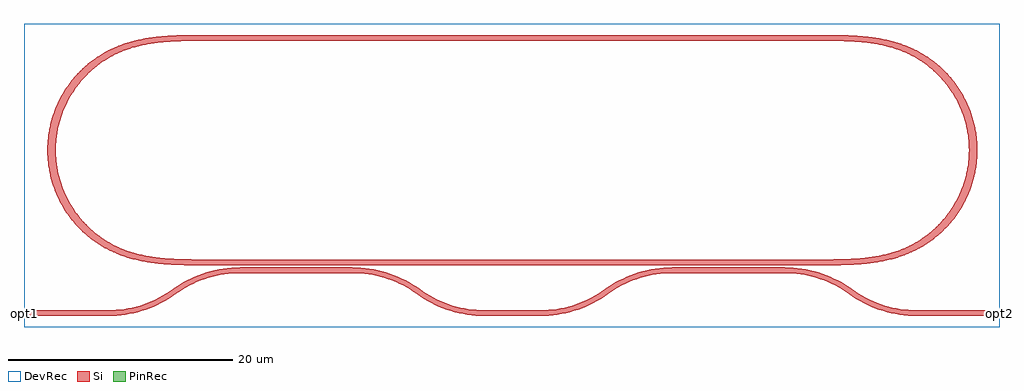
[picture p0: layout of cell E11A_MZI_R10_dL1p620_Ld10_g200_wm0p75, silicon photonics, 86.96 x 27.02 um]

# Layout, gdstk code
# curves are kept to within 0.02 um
import gdstk
lib = gdstk.Library(unit=1e-6, precision=1e-09)
def R(c, l, rs):  # rectangles x0, y0, x1, y1
    for r in rs: c.add(gdstk.rectangle(r[:2], r[2:], *l))
def P(c, l, *ps):  # polygons
    for p in ps: c.add(gdstk.Polygon(p, *l))
Si = (1, 0)
PinRec = (1, 10)
DevRec = (68, 0)

c__e11aring_r10p000_lc52p5 = lib.new_cell('_E11Aring_R10p000_Lc52p506_w0p500_wm0p750_tp30')
R(c__e11aring_r10p000_lc52p5, Si, [(-26.253,-10.25,26.253,-9.75), (-26.253,9.75,26.253,10.25)])
P(c__e11aring_r10p000_lc52p5, Si, [(-27.414,-10.25),(-30.399,-10.193),(-31.556,-10.105),(-32.543,-9.976),(-33.519,-9.783),(-34.319,-9.565),(-35.101,-9.289),(-35.859,-8.954),(-36.722,-8.475),(-37.392,-8.02),(-38.144,-7.404),(-38.832,-6.719),(-39.45,-5.969),(-39.993,-5.163),(-40.384,-4.454),(-40.775,-3.564),(-41.077,-2.641),(-41.288,-1.693),(-41.406,-0.728),(-41.43,0.243),(-41.359,1.212),(-41.194,2.17),(-40.937,3.107),(-40.59,4.014),(-40.156,4.884),(-39.64,5.707),(-39.046,6.476),(-38.38,7.184),(-37.649,7.823),(-36.859,8.388),(-36.007,8.88),(-35.101,9.29),(-34.16,9.613),(-33.032,9.888),(-31.721,10.088),(-30.399,10.193),(-28.907,10.24),(-26.253,10.25),(-26.253,9.75),(-28.772,9.741),(-30.502,9.678),(-32.067,9.515),(-33.302,9.271),(-34.059,9.054),(-34.651,8.841),(-35.229,8.591),(-35.79,8.304),(-36.83,7.636),(-37.773,6.84),(-38.203,6.398),(-38.699,5.807),(-39.146,5.179),(-39.466,4.651),(-39.816,3.964),(-40.055,3.395),(-40.302,2.664),(-40.488,1.916),(-40.593,1.308),(-40.668,0.54),(-40.683,-0.077),(-40.645,-0.847),(-40.57,-1.46),(-40.421,-2.216),(-40.257,-2.811),(-39.999,-3.538),(-39.683,-4.242),(-39.229,-5.048),(-38.793,-5.684),(-38.203,-6.398),(-37.661,-6.946),(-36.954,-7.543),(-36.322,-7.986),(-35.651,-8.379),(-34.797,-8.781),(-33.909,-9.101),(-32.842,-9.376),(-31.912,-9.537),(-30.816,-9.655),(-29.716,-9.717),(-26.253,-9.75),(-26.253,-10.25)],
  [(26.253,-10.25),(26.253,-9.75),(28.929,-9.738),(30.502,-9.678),(31.912,-9.537),(33.149,-9.307),(34.059,-9.053),(34.942,-8.72),(35.79,-8.304),(36.579,-7.815),(37.431,-7.152),(38.203,-6.398),(38.974,-5.434),(39.54,-4.515),(39.999,-3.538),(40.383,-2.366),(40.593,-1.307),(40.658,-0.694),(40.683,-0.077),(40.668,0.54),(40.613,1.155),(40.421,2.217),(40.109,3.25),(39.683,4.242),(39.146,5.179),(38.793,5.685),(38.407,6.167),(37.661,6.946),(37.196,7.352),(36.705,7.726),(35.927,8.227),(35.086,8.657),(34.208,9.004),(33.149,9.308),(31.756,9.559),(30.502,9.678),(28.772,9.741),(26.253,9.75),(26.253,10.25),(30.067,10.209),(31.391,10.122),(32.215,10.026),(33.357,9.82),(34.319,9.565),(35.101,9.29),(36.007,8.88),(36.859,8.388),(37.649,7.823),(38.38,7.184),(39.046,6.476),(39.64,5.707),(40.156,4.884),(40.59,4.014),(40.937,3.107),(41.194,2.17),(41.359,1.212),(41.43,0.243),(41.406,-0.728),(41.288,-1.693),(41.077,-2.641),(40.775,-3.564),(40.384,-4.454),(39.908,-5.301),(39.45,-5.969),(38.832,-6.719),(38.263,-7.295),(37.649,-7.823),(36.859,-8.388),(36.007,-8.879),(35.254,-9.227),(34.319,-9.565),(33.519,-9.783),(32.543,-9.976),(31.721,-10.087),(30.564,-10.184),(29.57,-10.226)])

e11a_mzi_r10_dl1p620_ld1 = lib.new_cell('E11A_MZI_R10_dL1p620_Ld10_g200_wm0p75')
R(e11a_mzi_r10_dl1p620_ld1, Si, [(-1,-0.25,0,0.25), (0,-0.25,6.5,0.25), (40.006,-0.25,45.006,0.25), (78.512,-0.25,84.939,0.25), (84.939,-0.25,85.939,0.25), (18.253,3.568,28.253,4.068), (56.759,3.568,66.759,4.068)])
P(e11a_mzi_r10_dl1p620_ld1, Si, [(78.512,-0.25),(77.755,-0.222),(76.629,-0.076),(75.89,0.091),(75.165,0.312),(74.459,0.585),(73.775,0.91),(73.117,1.284),(72.488,1.707),(72.782,2.111),(73.38,1.71),(74.006,1.353),(74.657,1.044),(75.329,0.784),(76.018,0.574),(77.076,0.356),(77.792,0.277),(78.512,0.25)],
  [(51.029,1.707),(50.735,2.111),(51.69,2.727),(52.706,3.233),(53.773,3.623),(54.505,3.817),(55.625,4.005),(56.759,4.068),(56.759,3.568),(56.039,3.541),(55.323,3.461),(54.615,3.329),(53.918,3.145),(53.237,2.91),(52.576,2.625),(51.937,2.292)],
  [(45.006,-0.25),(45.006,0.25),(45.726,0.277),(46.442,0.356),(47.5,0.574),(48.189,0.784),(48.86,1.044),(49.511,1.353),(50.137,1.71),(50.735,2.111),(51.029,1.707),(50.4,1.284),(49.403,0.741),(48.708,0.442),(47.992,0.195),(47.26,0.001),(46.515,-0.138),(45.763,-0.222)],
  [(72.488,1.707),(71.58,2.292),(70.941,2.625),(70.28,2.91),(69.599,3.145),(68.903,3.329),(68.194,3.461),(67.479,3.541),(66.759,3.568),(66.759,4.068),(67.893,4.005),(69.012,3.817),(69.745,3.623),(70.811,3.233),(71.828,2.727),(72.782,2.111)],
  [(40.006,-0.25),(39.249,-0.222),(38.496,-0.138),(37.752,0.001),(37.02,0.195),(36.304,0.442),(35.608,0.741),(34.611,1.284),(33.982,1.707),(34.276,2.111),(34.874,1.71),(35.5,1.353),(36.151,1.044),(36.823,0.784),(37.512,0.574),(38.57,0.356),(39.286,0.277),(40.006,0.25)],
  [(33.982,1.707),(33.075,2.292),(32.436,2.625),(31.774,2.91),(31.093,3.145),(30.397,3.329),(29.689,3.461),(28.973,3.541),(28.253,3.568),(28.253,4.068),(29.387,4.005),(30.507,3.817),(31.239,3.623),(32.305,3.233),(33.322,2.727),(34.276,2.111)],
  [(12.523,1.707),(12.23,2.111),(13.184,2.727),(14.201,3.233),(15.267,3.623),(15.999,3.817),(17.119,4.005),(18.253,4.068),(18.253,3.568),(17.533,3.541),(16.817,3.461),(16.109,3.329),(15.413,3.145),(14.732,2.91),(14.07,2.625),(13.431,2.292)],
  [(6.5,-0.25),(6.5,0.25),(7.22,0.277),(7.936,0.356),(8.994,0.574),(9.683,0.784),(10.355,1.044),(11.005,1.353),(11.631,1.71),(12.23,2.111),(12.523,1.707),(11.895,1.284),(10.897,0.741),(10.202,0.442),(9.486,0.195),(8.754,0.001),(8.009,-0.138),(7.257,-0.222)])
R(e11a_mzi_r10_dl1p620_ld1, DevRec, [(-1,-1.25,85.939,25.768)])
e11a_mzi_r10_dl1p620_ld1.add(gdstk.FlexPath([(85.929,0),(85.949,0)], 0.5, ends="flush", simple_path=True, layer=1, datatype=10))  # PinRec
e11a_mzi_r10_dl1p620_ld1.add(gdstk.FlexPath([(-0.99,0),(-1.01,0)], 0.5, ends="flush", simple_path=True, layer=1, datatype=10))  # PinRec
e11a_mzi_r10_dl1p620_ld1.add(gdstk.Reference(c__e11aring_r10p000_lc52p5, (42.506,14.518)))
e11a_mzi_r10_dl1p620_ld1.add(gdstk.Label('opt2', (85.939,0), layer=1, texttype=10))
e11a_mzi_r10_dl1p620_ld1.add(gdstk.Label('opt1', (-1,0), layer=1, texttype=10))

lib.write_gds('E11A_MZI_R10_dL1p620_Ld10_g200_wm0p75.gds')
